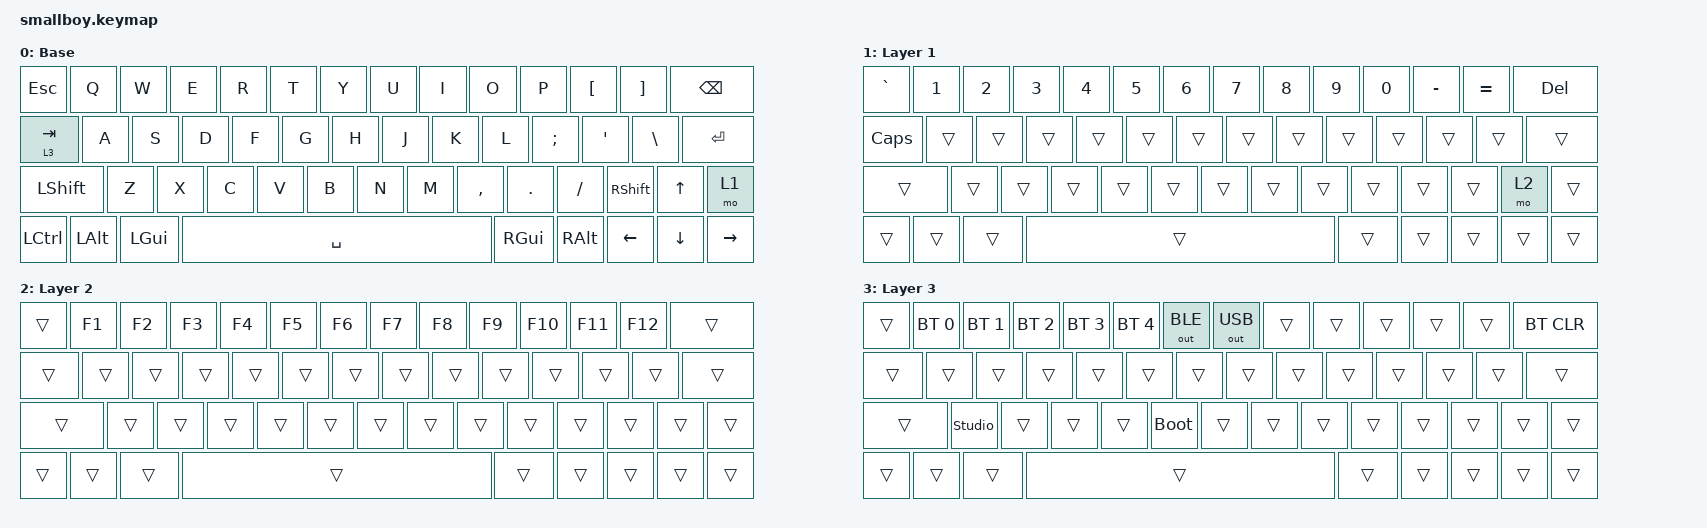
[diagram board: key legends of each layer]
#include <behaviors.dtsi>
#include <dt-bindings/zmk/keys.h>
#include <dt-bindings/zmk/bt.h>
#include <dt-bindings/zmk/outputs.h>

// Layer 0  default_layer
// Layer 1  layer_1, held with Fn
// Layer 2  layer_2, held with Fn and Up together
// Layer 3  layer_3, held with Tab

/ {
    keymap {
        compatible = "zmk,keymap";

        default_layer { // Layer 0

            // ,-------------------------------------------------------------------------------------------------.
            // | Esc  | Q    | W    | E    | R    | T    | Y    | U    | I    | O    | P    | {    | }    | Bksp |
            // |------+------+------+------+------+------+------+------+------+------+------+------+------+------|
            // | Tab  | A    | S    | D    | F    | G    | H    | J    | K    | L    | :    | "    | |    | Ret  |
            // |------+------+------+------+------+------+------+------+------+------+------+------+------+------|
            // | Shft | Z    | X    | C    | V    | B    | N    | M    | <    | >    | ?    | Shft | ↑    | Fn   |
            // |------+------+------+------+------+------+------+------+------+------+------+------+------+------|
            // | Ctrl | Alt  | Cmd  |                                         | Cmd  | Alt  | ←    | ↓    | →    |
            // `-------------------------------------------------------------------------------------------------'
   display-name = "Base";
   bindings = <
    &kp ESC   &kp Q    &kp W    &kp E    &kp R     &kp T     &kp Y     &kp U     &kp I     &kp O    &kp P     &kp LBKT   &kp RBKT  &kp BSPC
    &lt 3 TAB &kp A    &kp S    &kp D    &kp F     &kp G     &kp H     &kp J     &kp K     &kp L    &kp SEMI  &kp SQT    &kp BSLH  &kp RET
    &kp LSHFT &kp Z    &kp X    &kp C    &kp V     &kp B     &kp N     &kp M     &kp COMMA &kp DOT  &kp SLASH &kp RSHIFT &kp UP    &mo 1
    &kp LCTRL &kp LALT &kp LGUI &kp SPACE                                                  &kp RGUI &kp RALT  &kp LEFT   &kp DOWN  &kp RIGHT
   >;
  };



  layer_1 { // Fn

            // ,-------------------------------------------------------------------------------------------------.
            // | ~    | 1    | 2    | 3    | 4    | 5    | 6    | 7    | 8    | 9    | 0    | -    | =    | Del  |
            // |------+------+------+------+------+------+------+------+------+------+------+------+------+------|
            // |CpsLck|      |      |      |      |      |      |      |      |      |      |      |      |      |
            // |------+------+------+------+------+------+------+------+------+------+------+------+------+------|
            // |      |      |      |      |      |      |      |      |      |      |      |      |Raise |      |
            // |------+------+------+------+------+------+------+------+------+------+------+------+------+------|
            // |      |      |      |                                         |      |      |      |      |      |
            // `-------------------------------------------------------------------------------------------------'
   display-name = "Layer 1";
   bindings = <
    &kp GRAVE &kp N1 &kp N2 &kp N3 &kp N4 &kp N5 &kp N6 &kp N7 &kp N8 &kp N9 &kp N0 &kp MINUS &kp EQUAL &kp DEL
    &kp CAPS  &trans &trans &trans &trans &trans &trans &trans &trans &trans &trans &trans    &trans    &trans
    &trans    &trans &trans &trans &trans &trans &trans &trans &trans &trans &trans &trans    &mo 2     &trans
    &trans    &trans &trans &trans                                   &trans &trans  &trans    &trans    &trans
   >;
  };

  layer_2 { // Fn + Up

            // ,-------------------------------------------------------------------------------------------------.
            // |      | F1   | F2   | F3   | F4   | F5   | F6   | F7   | F8   | F9   | F10  | F11  | F12  |      |
            // |------+------+------+------+------+------+------+------+------+------+------+------+------+------|
            // |      |      |      |      |      |      |      |      |      |      |      |      |      |      |
            // |------+------+------+------+------+------+------+------+------+------+------+------+------+------|
            // |      |      |      |      |      |      |      |      |      |      |      |      |      |      |
            // |------+------+------+------+------+------+------+------+------+------+------+------+------+------|
            // |      |      |      |                                         |      |      |      |      |      |
            // `-------------------------------------------------------------------------------------------------'
   display-name = "Layer 2";
   bindings = <
    &trans &kp F1 &kp F2 &kp F3 &kp F4 &kp F5 &kp F6 &kp F7 &kp F8 &kp F9 &kp F10 &kp F11 &kp F12 &trans
    &trans &trans &trans &trans &trans &trans &trans &trans &trans &trans &trans  &trans  &trans  &trans
    &trans &trans &trans &trans &trans &trans &trans &trans &trans &trans &trans  &trans  &trans  &trans
    &trans &trans &trans &trans                             &trans &trans &trans  &trans  &trans
   >;
  };

  layer_3 { // Tab

            // ,-------------------------------------------------------------------------------------------------.
            // |      |BT 1  |BT 2  |BT 3  |BT 4  |BT 5  |outBLE|outUSB|      |      |      |      |      |BT_CLR|
            // |------+------+------+------+------+------+------+------+------+------+------+------+------+------|
            // |      |      |      |      |      |      |      |      |      |      |      |      |      |      |
            // |------+------+------+------+------+------+------+------+------+------+------+------+------+------|
            // |      |Studio|      |      |      | Boot |      |      |      |      |      |      |      |      |
            // |------+------+------+------+------+------+------+------+------+------+------+------+------+------|
            // |      |      |      |                                         |      |      |      |      |      |
            // `-------------------------------------------------------------------------------------------------'
   display-name = "Layer 3";
   bindings = <
    &trans &bt BT_SEL 0 &bt BT_SEL 1 &bt BT_SEL 2 &bt BT_SEL 3 &bt BT_SEL 4 &out OUT_BLE &out OUT_USB &trans &trans &trans &trans &trans &bt BT_CLR
    &trans &trans       &trans       &trans       &trans       &trans       &trans       &trans       &trans &trans &trans &trans &trans &trans
    &trans &studio_unlock &trans     &trans       &trans       &bootloader  &trans       &trans       &trans &trans &trans &trans &trans &trans
    &trans &trans       &trans       &trans                                                                  &trans &trans &trans &trans &trans
   >;
  };

 };
 };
